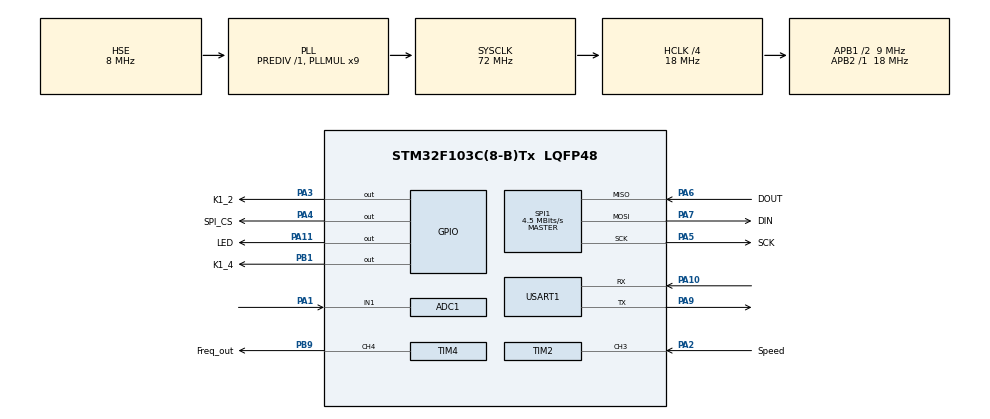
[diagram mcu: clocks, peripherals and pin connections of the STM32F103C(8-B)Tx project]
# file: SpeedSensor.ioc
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ADC1.Channel-1\#ChannelRegularConversion=ADC_CHANNEL_1
ADC1.NbrOfConversionFlag=1
ADC1.Rank-1\#ChannelRegularConversion=1
ADC1.SamplingTime-1\#ChannelRegularConversion=ADC_SAMPLETIME_1CYCLE_5
ADC1.master=1
FREERTOS.Tasks01=Freq_outTask,0,128,StartFreq_outTask,Default,NULL,Dynamic,NULL,NULL;Current_outTask,0,128,StartCurrent_outTask,Default,NULL,Dynamic,NULL,NULL;Freq_ICTask,1,128,StartFreq_ICTask,Default,NULL,Dynamic,NULL,NULL;ADCTask,0,128,StartADCTask,Default,NULL,Dynamic,NULL,NULL
FREERTOS.Timers01=SlipTimer,SlipTimerCallback,osTimerOnce,Default,NULL,Dynamic,NULL
FREERTOS.configUSE_TIMERS=1
Mcu.Family=STM32F1
Mcu.Name=STM32F103C(8-B)Tx
Mcu.Package=LQFP48
NVIC.PriorityGroup=NVIC_PRIORITYGROUP_4
NVIC.SPI1_IRQn=true\:5\:0\:false\:false\:true\:true\:true\:true\:true
NVIC.TIM1_UP_IRQn=true\:15\:0\:false\:false\:true\:false\:false\:true\:true
NVIC.TIM2_IRQn=true\:5\:0\:false\:false\:true\:true\:true\:true\:true
NVIC.TIM3_IRQn=true\:5\:0\:false\:false\:true\:true\:true\:true\:true
NVIC.TIM4_IRQn=true\:5\:0\:false\:false\:true\:true\:true\:true\:true
NVIC.TimeBase=TIM1_UP_IRQn
NVIC.TimeBaseIP=TIM1
NVIC.USART1_IRQn=true\:5\:0\:false\:false\:true\:true\:true\:true\:true
PA1.Signal=ADCx_IN1
PA10.Mode=Asynchronous
PA10.Signal=USART1_RX
PA11.GPIO_Label=LED
PA11.GPIO_Speed=GPIO_SPEED_FREQ_HIGH
PA11.PinState=GPIO_PIN_SET
PA11.Signal=GPIO_Output
PA13.Mode=Serial_Wire
PA13.Signal=SYS_JTMS-SWDIO
PA14.Mode=Serial_Wire
PA14.Signal=SYS_JTCK-SWCLK
PA2.GPIO_Label=Speed
PA2.GPIO_Speed=GPIO_SPEED_FREQ_HIGH
PA2.Signal=S_TIM2_CH3
PA3.GPIO_Label=K1_2
PA3.GPIO_Speed=GPIO_SPEED_FREQ_HIGH
PA3.PinState=GPIO_PIN_SET
PA3.Signal=GPIO_Output
PA4.GPIO_Label=SPI_CS
PA4.GPIO_Speed=GPIO_SPEED_FREQ_HIGH
PA4.PinState=GPIO_PIN_SET
PA4.Signal=GPIO_Output
PA5.GPIO_Label=SCK
PA5.Mode=Full_Duplex_Master
PA5.Signal=SPI1_SCK
PA6.GPIO_Label=DOUT
PA6.Mode=Full_Duplex_Master
PA6.Signal=SPI1_MISO
PA7.GPIO_Label=DIN
PA7.Mode=Full_Duplex_Master
PA7.Signal=SPI1_MOSI
PA9.Mode=Asynchronous
PA9.Signal=USART1_TX
PB1.GPIO_Label=K1_4
PB1.GPIO_Speed=GPIO_SPEED_FREQ_HIGH
PB1.PinState=GPIO_PIN_SET
PB1.Signal=GPIO_Output
PB9.GPIO_Label=Freq_out
PB9.GPIO_Speed=GPIO_SPEED_FREQ_HIGH
PB9.Signal=S_TIM4_CH4
PD0-OSC_IN.Mode=HSE-External-Oscillator
PD0-OSC_IN.Signal=RCC_OSC_IN
PD1-OSC_OUT.Mode=HSE-External-Oscillator
PD1-OSC_OUT.Signal=RCC_OSC_OUT
ProjectManager.HeapSize=0x200
ProjectManager.StackSize=0x400
ProjectManager.TargetToolchain=MDK-ARM V5.32
RCC.AHBCLKDivider=RCC_SYSCLK_DIV4
RCC.AHBFreq_Value=18000000
RCC.APB1CLKDivider=RCC_HCLK_DIV2
RCC.APB1Freq_Value=9000000
RCC.APB1TimFreq_Value=18000000
RCC.APB2Freq_Value=18000000
RCC.APB2TimFreq_Value=18000000
RCC.HCLKFreq_Value=18000000
RCC.PLLMUL=RCC_PLL_MUL9
RCC.PLLSourceVirtual=RCC_PLLSOURCE_HSE
RCC.SYSCLKFreq_VALUE=72000000
RCC.SYSCLKSource=RCC_SYSCLKSOURCE_PLLCLK
RCC.USBFreq_Value=72000000
SH.ADCx_IN1.0=ADC1_IN1,IN1
SH.S_TIM2_CH3.0=TIM2_CH3,Input_Capture3_from_TI3
SH.S_TIM4_CH4.0=TIM4_CH4,PWM Generation4 CH4
SPI1.BaudRatePrescaler=SPI_BAUDRATEPRESCALER_4
SPI1.CLKPhase=SPI_PHASE_2EDGE
SPI1.CalculateBaudRate=4.5 MBits/s
SPI1.Direction=SPI_DIRECTION_2LINES
SPI1.Mode=SPI_MODE_MASTER
SPI1.VirtualType=VM_MASTER
TIM2.AutoReloadPreload=TIM_AUTORELOAD_PRELOAD_ENABLE
TIM2.Channel-Input_Capture3_from_TI3=TIM_CHANNEL_3
TIM2.Period=65536-1
TIM2.Prescaler=180-1
TIM3.AutoReloadPreload=TIM_AUTORELOAD_PRELOAD_ENABLE
TIM3.Period=15000-1
TIM3.Prescaler=1800-1
TIM4.AutoReloadPreload=TIM_AUTORELOAD_PRELOAD_ENABLE
TIM4.Channel-PWM\ Generation4\ CH4=TIM_CHANNEL_4
TIM4.Period=5000-1
TIM4.Prescaler=18-1
TIM4.Pulse-PWM\ Generation4\ CH4=2500
USART1.VirtualMode=VM_ASYNC
VP_FREERTOS_VS_CMSIS_V1.Mode=CMSIS_V1
VP_SYS_VS_tim1.Mode=TIM1
VP_TIM2_VS_ClockSourceINT.Mode=Internal
VP_TIM3_VS_ClockSourceINT.Mode=Internal
VP_TIM4_VS_ClockSourceINT.Mode=Internal
board=custom

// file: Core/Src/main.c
/* USER CODE BEGIN Header */
/**
  ******************************************************************************
  * @file           : main.c
  * @brief          : Main program body
  ******************************************************************************
  * @attention
  *
  * Copyright (c) 2024 STMicroelectronics.
  * All rights reserved.
  *
  * This software is licensed under terms that can be found in the LICENSE file
  * in the root directory of this software component.
  * If no LICENSE file comes with this software, it is provided AS-IS.
  *
  ******************************************************************************
  */
/* USER CODE END Header */
#include "main.h"
#include "cmsis_os.h"
#include "adc.h"
#include "spi.h"
#include "tim.h"
#include "usart.h"
#include "gpio.h"

void SystemClock_Config(void);
void MX_FREERTOS_Init(void);

int main(void)
{

  /* MCU Configuration--------------------------------------------------------*/

  /* Reset of all peripherals, Initializes the Flash interface and the Systick. */
  HAL_Init();

  /* Configure the system clock */
  SystemClock_Config();

  /* Initialize all configured peripherals */
  MX_GPIO_Init();
  MX_ADC1_Init();
  MX_SPI1_Init();
  MX_TIM2_Init();
  MX_USART1_UART_Init();
  MX_TIM4_Init();
  MX_TIM3_Init();
  /* USER CODE BEGIN 2 */

  HAL_TIM_PWM_Start(&htim4, TIM_CHANNEL_4);
  HAL_TIM_IC_Start_IT(&htim2,TIM_CHANNEL_3);
	HAL_TIM_Base_Start_IT(&htim3);
  /* USER CODE END 2 */

  /* Call init function for freertos objects (in cmsis_os2.c) */
  MX_FREERTOS_Init();

  /* Start scheduler */
  osKernelStart();

  /* We should never get here as control is now taken by the scheduler */

  /* Infinite loop */
  while (1)
  {

  }
}

void SystemClock_Config(void)
{
  RCC_OscInitTypeDef RCC_OscInitStruct = {0};
  RCC_ClkInitTypeDef RCC_ClkInitStruct = {0};
  RCC_PeriphCLKInitTypeDef PeriphClkInit = {0};

  /** Initializes the RCC Oscillators according to the specified parameters
  * in the RCC_OscInitTypeDef structure.
  */
  RCC_OscInitStruct.OscillatorType = RCC_OSCILLATORTYPE_HSE;
  RCC_OscInitStruct.HSEState = RCC_HSE_ON;
  RCC_OscInitStruct.HSEPredivValue = RCC_HSE_PREDIV_DIV1;
  RCC_OscInitStruct.HSIState = RCC_HSI_ON;
  RCC_OscInitStruct.PLL.PLLState = RCC_PLL_ON;
  RCC_OscInitStruct.PLL.PLLSource = RCC_PLLSOURCE_HSE;
  RCC_OscInitStruct.PLL.PLLMUL = RCC_PLL_MUL9;
  if (HAL_RCC_OscConfig(&RCC_OscInitStruct) != HAL_OK)
  {
    Error_Handler();
  }

  /** Initializes the CPU, AHB and APB buses clocks
  */
  RCC_ClkInitStruct.ClockType = RCC_CLOCKTYPE_HCLK|RCC_CLOCKTYPE_SYSCLK
                              |RCC_CLOCKTYPE_PCLK1|RCC_CLOCKTYPE_PCLK2;
  RCC_ClkInitStruct.SYSCLKSource = RCC_SYSCLKSOURCE_PLLCLK;
  RCC_ClkInitStruct.AHBCLKDivider = RCC_SYSCLK_DIV4;
  RCC_ClkInitStruct.APB1CLKDivider = RCC_HCLK_DIV2;
  RCC_ClkInitStruct.APB2CLKDivider = RCC_HCLK_DIV1;

  if (HAL_RCC_ClockConfig(&RCC_ClkInitStruct, FLASH_LATENCY_2) != HAL_OK)
  {
    Error_Handler();
  }
  PeriphClkInit.PeriphClockSelection = RCC_PERIPHCLK_ADC;
  PeriphClkInit.AdcClockSelection = RCC_ADCPCLK2_DIV2;
  if (HAL_RCCEx_PeriphCLKConfig(&PeriphClkInit) != HAL_OK)
  {
    Error_Handler();
  }
}

//void HAL_TIM_PeriodElapsedCallback(TIM_HandleTypeDef *htim)
//{
//  /* USER CODE BEGIN Callback 0 */

//  /* USER CODE END Callback 0 */
//  if (htim->Instance == TIM1) {
//    HAL_IncTick();
//  }
//  /* USER CODE BEGIN Callback 1 */

//  /* USER CODE END Callback 1 */
//}

void Error_Handler(void)
{
  __disable_irq();
  while (1)
  {
  }
}

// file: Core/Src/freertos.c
/* USER CODE BEGIN Header */
/**
 ******************************************************************************
 * File Name          : freertos.c
 * Description        : Code for freertos applications
 ******************************************************************************
 * @attention
 *
 * Copyright (c) 2024 STMicroelectronics.
 * All rights reserved.
 *
 * This software is licensed under terms that can be found in the LICENSE file
 * in the root directory of this software component.
 * If no LICENSE file comes with this software, it is provided AS-IS.
 *
 ******************************************************************************
 */
/* USER CODE END Header */

#include "FreeRTOS.h"
#include "task.h"
#include "main.h"
#include "cmsis_os.h"

/* USER CODE BEGIN Includes */
#include "tim.h"
#include "spi.h"
#include "math.h"
/* USER CODE END Includes */

/* USER CODE BEGIN PTD */
uint16_t power_on_init = 1;
extern float Frequency;
const float DAC_COEFFICIENT = 65536.0 / 2.5;
const uint8_t DAC_DEFAULT_MODE = 0;
float Frequency_old = 0;
const uint16_t Frequency_Input_Max = 80;
uint32_t period = 0; // LTODO:测试后改回PWM_SetFrequencyDutyCycle内
uint16_t TimerFlag = 1;
/* USER CODE END PTD */

/* USER CODE BEGIN PD */
void PWM_SetFrequencyDutyCycle(float frequency);
/* USER CODE END PD */

osThreadId Freq_outTaskHandle;
osThreadId Current_outTaskHandle;
osThreadId Freq_ICTaskHandle;
osThreadId ADCTaskHandle;
osTimerId SlipTimerHandle;

void StartFreq_outTask(void const * argument);
void StartCurrent_outTask(void const * argument);
void StartFreq_ICTask(void const * argument);
void StartADCTask(void const * argument);
void SlipTimerCallback(void const * argument);

void MX_FREERTOS_Init(void); /* (MISRA C 2004 rule 8.1) */

/* GetIdleTaskMemory prototype (linked to static allocation support) */
void vApplicationGetIdleTaskMemory( StaticTask_t **ppxIdleTaskTCBBuffer, StackType_t **ppxIdleTaskStackBuffer, uint32_t *pulIdleTaskStackSize );

/* GetTimerTaskMemory prototype (linked to static allocation support) */
void vApplicationGetTimerTaskMemory( StaticTask_t **ppxTimerTaskTCBBuffer, StackType_t **ppxTimerTaskStackBuffer, uint32_t *pulTimerTaskStackSize );

/* USER CODE BEGIN GET_IDLE_TASK_MEMORY */
static StaticTask_t xIdleTaskTCBBuffer;
static StackType_t xIdleStack[configMINIMAL_STACK_SIZE];

void vApplicationGetIdleTaskMemory(StaticTask_t **ppxIdleTaskTCBBuffer, StackType_t **ppxIdleTaskStackBuffer, uint32_t *pulIdleTaskStackSize)
{
  *ppxIdleTaskTCBBuffer = &xIdleTaskTCBBuffer;
  *ppxIdleTaskStackBuffer = &xIdleStack[0];
  *pulIdleTaskStackSize = configMINIMAL_STACK_SIZE;
  /* place for user code */
}
/* USER CODE END GET_IDLE_TASK_MEMORY */

/* USER CODE BEGIN GET_TIMER_TASK_MEMORY */
static StaticTask_t xTimerTaskTCBBuffer;
static StackType_t xTimerStack[configTIMER_TASK_STACK_DEPTH];

void vApplicationGetTimerTaskMemory(StaticTask_t **ppxTimerTaskTCBBuffer, StackType_t **ppxTimerTaskStackBuffer, uint32_t *pulTimerTaskStackSize)
{
  *ppxTimerTaskTCBBuffer = &xTimerTaskTCBBuffer;
  *ppxTimerTaskStackBuffer = &xTimerStack[0];
  *pulTimerTaskStackSize = configTIMER_TASK_STACK_DEPTH;
  /* place for user code */
}
/* USER CODE END GET_TIMER_TASK_MEMORY */

void MX_FREERTOS_Init(void) {

  /* Create the timer(s) */
  /* definition and creation of SlipTimer */
  osTimerDef(SlipTimer, SlipTimerCallback);
  SlipTimerHandle = osTimerCreate(osTimer(SlipTimer), osTimerOnce, NULL);

  /* Create the thread(s) */
  /* definition and creation of Freq_outTask */
  osThreadDef(Freq_outTask, StartFreq_outTask, osPriorityNormal, 0, 128);
  Freq_outTaskHandle = osThreadCreate(osThread(Freq_outTask), NULL);

  /* definition and creation of Current_outTask */
  osThreadDef(Current_outTask, StartCurrent_outTask, osPriorityNormal, 0, 128);
  Current_outTaskHandle = osThreadCreate(osThread(Current_outTask), NULL);

  /* definition and creation of Freq_ICTask */
  osThreadDef(Freq_ICTask, StartFreq_ICTask, osPriorityAboveNormal, 0, 128);
  Freq_ICTaskHandle = osThreadCreate(osThread(Freq_ICTask), NULL);

  /* definition and creation of ADCTask */
  osThreadDef(ADCTask, StartADCTask, osPriorityNormal, 0, 128);
  ADCTaskHandle = osThreadCreate(osThread(ADCTask), NULL);

}

void StartFreq_outTask(void const * argument)
{
  /* USER CODE BEGIN StartFreq_outTask */
  BaseType_t ret;
  /* Infinite loop */
  for (;;)
  {
    ret = ulTaskNotifyTake(pdFALSE, 0);
    if (ret == pdPASS)
    {
      // LTODO: 添加对应按照线性关系的频率输出
      PWM_SetFrequencyDutyCycle(Frequency_old);
    }

    osDelay(10);
  }
  /* USER CODE END StartFreq_outTask */
}

void StartCurrent_outTask(void const * argument)
{
  /* USER CODE BEGIN StartCurrent_outTask */
  BaseType_t ret;
  float DATA = 0;
  float Vout = 0;
  /* Infinite loop */
  for (;;)
  {
    ret = ulTaskNotifyTake(pdFALSE, 0);
    if (ret == pdPASS)
    {
      Vout = 0.02 * Frequency_old + 0.4;
      Vout = Vout-0.006;
      DATA = (float)(Vout * DAC_COEFFICIENT);
      SPI_DAC8560_Write(DAC_DEFAULT_MODE, DATA);
    }
    osDelay(10);
  }
  /* USER CODE END StartCurrent_outTask */
}

void StartFreq_ICTask(void const * argument)
{
  /* USER CODE BEGIN StartFreq_ICTask */
  float DATA = 0;
  BaseType_t ret;
  /* Infinite loop */
  for (;;)
  {
    if (power_on_init)
    {
      DATA = (float)(0.394 * DAC_COEFFICIENT); // 4mA
      SPI_DAC8560_Write(DAC_DEFAULT_MODE, DATA);
			SPI_DAC8560_Write(DAC_DEFAULT_MODE, DATA);
      power_on_init = 0;
    }
    ret = ulTaskNotifyTake(pdFALSE, 0);
    if (ret == pdPASS)
    {
      if (Frequency_old != Frequency)
      {
        if (Frequency > 0 && Frequency <= 80)
        {
          xTaskNotifyGive(Freq_outTaskHandle);
          xTaskNotifyGive(Current_outTaskHandle);
          Frequency_old = Frequency;
          if (Frequency >= 20 && Frequency <= 28)
          {
            if (TimerFlag)
            {
              xTimerReset(SlipTimerHandle, 0);
              xTimerStart(SlipTimerHandle, pdMS_TO_TICKS(10000));
              TimerFlag = 0;
            }
          }
          else if (TimerFlag == 0)
          {
            xTimerStop(SlipTimerHandle, 0);
            TimerFlag = 1;
          }
        }
        else if (Frequency == 0)
        {
          // LTODO:频率输出200Hz，电流输出4mA，即默认值
          PWM_SetFrequencyDutyCycle(0);             // 200HZ
          DATA = (float)(0.394 * DAC_COEFFICIENT); // 4mA
          SPI_DAC8560_Write(DAC_DEFAULT_MODE, DATA);
          Frequency_old = Frequency;
        }
        else if (Frequency > Frequency_Input_Max)
        {

          // HAL_TIM_PWM_Stop(&htim4, TIM_CHANNEL_4); // 关闭TIM4通道4的PWM
          // SPI_DAC8560_Write(DAC_DEFAULT_MODE, 0);
          // LXXX:超速后限定在最大值
          PWM_SetFrequencyDutyCycle(Frequency_Input_Max);
          DATA = (float)(1.994 * DAC_COEFFICIENT); // 20mA
          SPI_DAC8560_Write(DAC_DEFAULT_MODE, DATA);
        }
      }
    }

    osDelay(10);
  }
  /* USER CODE END StartFreq_ICTask */
}

void StartADCTask(void const * argument)
{
  /* USER CODE BEGIN StartADCTask */
  // TickType_t PreviousWakeTime;
  // PreviousWakeTime = xTaskGetTickCount(); // 获取当前的系统节拍值

  /* Infinite loop */
  for (;;)
  {
    HAL_GPIO_TogglePin(LED_GPIO_Port, LED_Pin);
    //    vTaskDelayUntil(&PreviousWakeTime, pdMS_TO_TICKS(500));
    vTaskDelay(500);
    osDelay(1);
  }
  /* USER CODE END StartADCTask */
}

/* SlipTimerCallback function */
void SlipTimerCallback(void const * argument)
{
  /* USER CODE BEGIN SlipTimerCallback */
  // LXXX:什么时候恢复呢
  HAL_GPIO_WritePin(K1_4_GPIO_Port, K1_4_Pin, GPIO_PIN_RESET);
  /* USER CODE END SlipTimerCallback */
}

/* USER CODE BEGIN Application */
void PWM_SetFrequencyDutyCycle(float frequency)
{
//  HAL_TIM_PWM_Stop(&htim4, TIM_CHANNEL_4); // 关闭TIM4通道4的PWM
  // 计算定时器的时钟频率

  // 计算周期值

  period = (uint32_t)round((1000000.0 / (10 * frequency + 200))) - 1; // float->uint32_t

  // 更新定时器的预分频器和周期

  htim4.Instance->ARR = period; // 设置自动重装载寄存器（周期）

  // 设置PWM占空比
  htim4.Instance->CCR4 = (uint32_t)round(((float)(period + 1) / 2)); // 设置比较寄存器（占空比）

  // 启动PWM
//  HAL_TIM_PWM_Start(&htim4, TIM_CHANNEL_4); // 启动TIM4通道4的PWM
}
/* USER CODE END Application */
